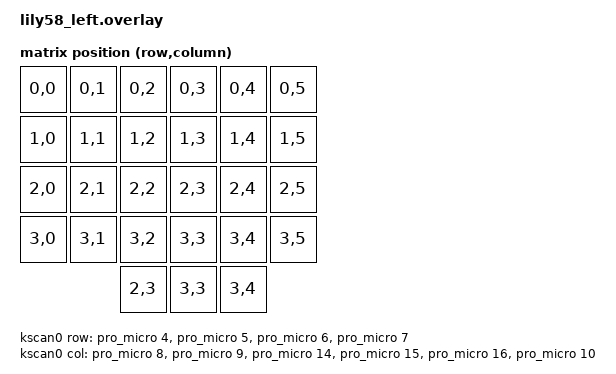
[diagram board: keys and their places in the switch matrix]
#include <dt-bindings/zmk/matrix_transform.h>

/ {
    chosen {
        zmk,kscan = &kscan0;
        zmk,matrix-transform = &default_transform;
    };

    default_transform: keymap_transform_0 {
        compatible = "zmk,matrix-transform";
        rows = <4>;
        columns = <6>;
        map = <
            RC(0,0) RC(0,1) RC(0,2) RC(0,3) RC(0,4) RC(0,5)
            RC(1,0) RC(1,1) RC(1,2) RC(1,3) RC(1,4) RC(1,5)
            RC(2,0) RC(2,1) RC(2,2) RC(2,3) RC(2,4) RC(2,5)
            RC(3,0) RC(3,1) RC(3,2) RC(3,3) RC(3,4) RC(3,5)
                             RC(2,3) RC(3,3) RC(3,4)
        >;
    };

    kscan0: kscan {
        compatible = "zmk,kscan-gpio-matrix";
        wakeup-source;

        diode-direction = "col2row";
        row-gpios
            = <&pro_micro 4 (GPIO_ACTIVE_HIGH | GPIO_PULL_DOWN)>
            , <&pro_micro 5 (GPIO_ACTIVE_HIGH | GPIO_PULL_DOWN)>
            , <&pro_micro 6 (GPIO_ACTIVE_HIGH | GPIO_PULL_DOWN)>
            , <&pro_micro 7 (GPIO_ACTIVE_HIGH | GPIO_PULL_DOWN)>
            ;
        col-gpios
            = <&pro_micro 8 GPIO_ACTIVE_HIGH>
            , <&pro_micro 9 GPIO_ACTIVE_HIGH>
            , <&pro_micro 14 GPIO_ACTIVE_HIGH>
            , <&pro_micro 15 GPIO_ACTIVE_HIGH>
            , <&pro_micro 16 GPIO_ACTIVE_HIGH>
            , <&pro_micro 10 GPIO_ACTIVE_HIGH>
            ;
    };

    wired_split {
        compatible = "zmk,wired-split";
        device = <&pro_micro_serial>;
    };

    underglow: underglow {
        compatible = "zmk,underglow";
        label = "UNDERGLOW";
        strip = <&ws2812>;
        color-mapping = <LED_COLOR_ID_GREEN LED_COLOR_ID_RED LED_COLOR_ID_BLUE>;
    };
};

&spi1 {
    compatible = "nordic,nrf-spi";
    status = "okay";
    mosi-pin = <6>;
    miso-pin = <17>;
    clk-pin = <5>;

    ws2812: ws2812@0 {
        compatible = "worldsemi,ws2812b";
        reg = <0>;
        spi-max-frequency = <4000000>;
        chain-length = <35>;
        spi-one-frame = <0x70>;
        spi-zero-frame = <0x40>;
        color-mapping = <LED_COLOR_ID_GREEN LED_COLOR_ID_RED LED_COLOR_ID_BLUE>;
    };
};

&pro_micro_serial {
    status = "okay";
};
